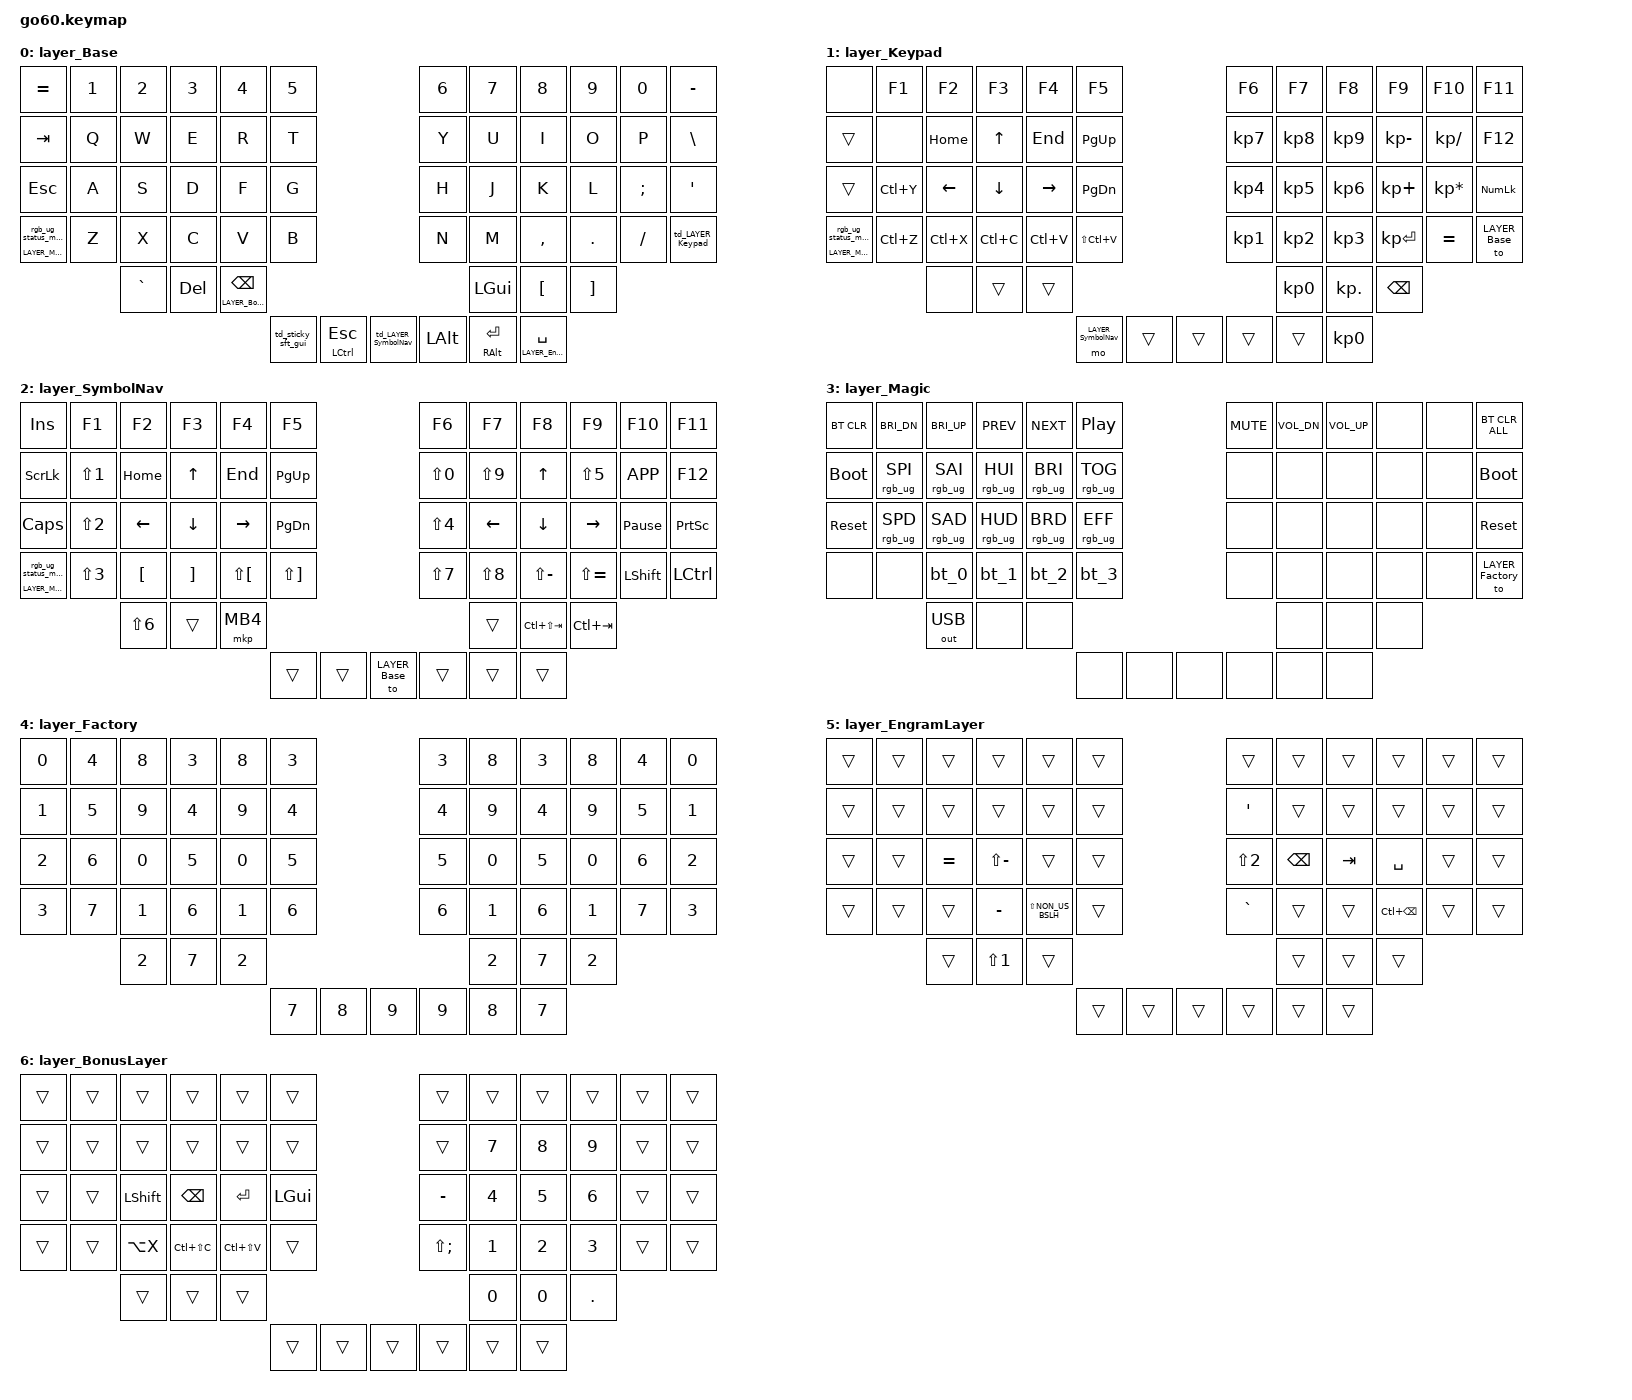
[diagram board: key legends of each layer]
/*
 * Copyright (c) 2020 The ZMK Contributors
 * Copyright (c) 2025 Innaworks Development Limited, trading as MoErgo
 *
 * SPDX-License-Identifier: MIT
 */


/* THIS FILE WAS GENERATED BY GO60 LAYOUT EDITOR
 *
 * This file was generated automatically. You may or may not want to
 * edit it directly.
 */

#include <behaviors.dtsi>

/* Include all behavior includes needed */

#include <dt-bindings/zmk/outputs.h>
#include <dt-bindings/zmk/keys.h>
#include <dt-bindings/zmk/bt.h>
#include <dt-bindings/zmk/rgb.h>

#include <input/processors.dtsi>
#include <dt-bindings/zmk/input_transform.h>
#include <zephyr/dt-bindings/input/input-event-codes.h>

/* On demand includes */
#include <dt-bindings/zmk/input_transform.h>
#include <dt-bindings/zmk/pointing.h>
#include <input/processors.dtsi>

/* Helper Macros, based on https://github.com/urob/zmk-helpers/ */

#pragma once

#define ZMK_HELPER_STRINGIFY(x) #x

// Preprocessor mechanism to overload macros, cf. https://stackoverflow.com/a/27051616/6114651
#define VARGS_(_10, _9, _8, _7, _6, _5, _4, _3, _2, _1, N, ...) N
#define VARGS(...) VARGS_(__VA_ARGS__, 10, 9, 8, 7, 6, 5, 4, 3, 2, 1, 0)
#define CONCAT_(a, b) a##b
#define CONCAT(a, b) CONCAT_(a, b)

#define ZMK_BEHAVIOR_CORE_tap_dance  \
    compatible = "zmk,behavior-tap-dance"; \
    #binding-cells = <0>

#define ZMK_BEHAVIOR(name, type, ...) \
    name: name { \
        ZMK_BEHAVIOR_CORE_ ## type; \
        __VA_ARGS__ \
    };

#define ZMK_TAP_DANCE(name, ...) \
    ZMK_BEHAVIOR(name, tap_dance, __VA_ARGS__)

#define ZMK_TD_LAYER(name, layer) \
    ZMK_TAP_DANCE(name, \
        tapping-term-ms = <200>; \
        bindings = <&mo layer>, <&to layer>; \
)




/* Locale-specific keycodes */

#define GB_N2 N2
#define GB_N3 N3
#define GB_N4 N4
#define GB_A A
#define GB_E E
#define GB_I I
#define GB_O O
#define GB_U U
#define GB_POUND BACKSLASH
#define GB_BACKSLASH NON_US_BACKSLASH
#define GB_GRAVE GRAVE
#define GB_APOS SQT



/* Key positions */

#define POS_LH_C6R1 0
#define POS_LH_C5R1 1
#define POS_LH_C4R1 2
#define POS_LH_C3R1 3
#define POS_LH_C2R1 4
#define POS_LH_C1R1 5
#define POS_RH_C1R1 6
#define POS_RH_C2R1 7
#define POS_RH_C3R1 8
#define POS_RH_C4R1 9
#define POS_RH_C5R1 10
#define POS_RH_C6R1 11
#define POS_LH_C6R2 12
#define POS_LH_C5R2 13
#define POS_LH_C4R2 14
#define POS_LH_C3R2 15
#define POS_LH_C2R2 16
#define POS_LH_C1R2 17
#define POS_RH_C1R2 18
#define POS_RH_C2R2 19
#define POS_RH_C3R2 20
#define POS_RH_C4R2 21
#define POS_RH_C5R2 22
#define POS_RH_C6R2 23
#define POS_LH_C6R3 24
#define POS_LH_C5R3 25
#define POS_LH_C4R3 26
#define POS_LH_C3R3 27
#define POS_LH_C2R3 28
#define POS_LH_C1R3 29
#define POS_RH_C1R3 30
#define POS_RH_C2R3 31
#define POS_RH_C3R3 32
#define POS_RH_C4R3 33
#define POS_RH_C5R3 34
#define POS_RH_C6R3 35
#define POS_LH_C6R4 36
#define POS_LH_C5R4 37
#define POS_LH_C4R4 38
#define POS_LH_C3R4 39
#define POS_LH_C2R4 40
#define POS_LH_C1R4 41
#define POS_RH_C1R4 42
#define POS_RH_C2R4 43
#define POS_RH_C3R4 44
#define POS_RH_C4R4 45
#define POS_RH_C5R4 46
#define POS_RH_C6R4 47
#define POS_LH_C4R5 48
#define POS_LH_C3R5 49
#define POS_LH_C2R5 50
#define POS_RH_C2R5 51
#define POS_RH_C3R5 52
#define POS_RH_C4R5 53
#define POS_LH_T1 54
#define POS_LH_T2 55
#define POS_LH_T3 56
#define POS_RH_T3 57
#define POS_RH_T2 58
#define POS_RH_T1 59


#define LEFT_HAND_KEYS \
  POS_LH_C1R1 POS_LH_C2R1 POS_LH_C3R1 POS_LH_C4R1 POS_LH_C5R1 POS_LH_C6R1 \
  POS_LH_C1R2 POS_LH_C2R2 POS_LH_C3R2 POS_LH_C4R2 POS_LH_C5R2 POS_LH_C6R2 \
  POS_LH_C1R3 POS_LH_C2R3 POS_LH_C3R3 POS_LH_C4R3 POS_LH_C5R3 POS_LH_C6R3 \
  POS_LH_C1R4 POS_LH_C2R4 POS_LH_C3R4 POS_LH_C4R4 POS_LH_C5R4 POS_LH_C6R4 \
              POS_LH_C2R5 POS_LH_C3R5 POS_LH_C4R5

#define RIGHT_HAND_KEYS \
  POS_RH_C1R1 POS_RH_C2R1 POS_RH_C3R1 POS_RH_C4R1 POS_RH_C5R1 POS_RH_C6R1 \
  POS_RH_C1R2 POS_RH_C2R2 POS_RH_C3R2 POS_RH_C4R2 POS_RH_C5R2 POS_RH_C6R2 \
  POS_RH_C1R3 POS_RH_C2R3 POS_RH_C3R3 POS_RH_C4R3 POS_RH_C5R3 POS_RH_C6R3 \
  POS_RH_C1R4 POS_RH_C2R4 POS_RH_C3R4 POS_RH_C4R4 POS_RH_C5R4 POS_RH_C6R4 \
              POS_RH_C2R5 POS_RH_C3R5 POS_RH_C4R5

#define THUMB_KEYS \
  POS_LH_T1 POS_LH_T2 POS_LH_T3 \
  POS_RH_T1 POS_RH_T2 POS_RH_T3

/* Environment and metadata defines */
#define KB_TYPE_GLOVE_80 1
#define KB_TYPE_GO_60    2

#define KB_TYPE          KB_TYPE_GO_60
#define EDITOR_HOST_OS   'L'

/* Automatically generated layer name defines */
#define LAYER_Base 0
#define LAYER_Keypad 1
#define LAYER_SymbolNav 2
#define LAYER_Magic 3
#define LAYER_Factory 4
#define LAYER_EngramLayer 5
#define LAYER_BonusLayer 6

/* To deal with the situation where there is no Lower layer, to keep &lower happy */
#ifndef LAYER_Lower
#define LAYER_Lower 0
#endif

/* Generated input processors */
/ {
    input_processors {
        zip_click_to_right_click_mapper: zip_click_to_right_click_mapper {
            compatible = "zmk,input-processor-code-mapper";
            #input-processor-cells = <0>;
            type = <INPUT_EV_KEY>;
            map = <INPUT_BTN_0 INPUT_BTN_1>;
        };
    };
};

/* Custom Device-tree */
&sk {
    quick-release;
    lazy;
};

/* Input Listeners */
&cirque_rh_listener {
    input-processors = <&zip_xy_scaler 3 1>;
    layer_SymbolNav {
        layers = <LAYER_SymbolNav>;
        input-processors = <&zip_xy_scaler 9 1>;
    };
};

&cirque_lh_listener {
    input-processors = <&zip_xy_scaler 1 4>, <&zip_xy_transform INPUT_TRANSFORM_Y_INVERT>, <&zip_xy_to_scroll_mapper>, <&zip_click_to_right_click_mapper>;
    layer_Factory {
        layers = <LAYER_Factory>;
        input-processors = <&zip_xy_scaler 3 1>;
    };
};

/* System behavior and macros */
/ {
    behaviors {
        ZMK_TD_LAYER(lower, LAYER_Lower)
    };
};

/ {
    macros {
        rgb_ug_status_macro: rgb_ug_status_macro {
            label = "RGB_UG_STATUS";
            compatible = "zmk,behavior-macro";
            #binding-cells = <0>;
            bindings
                = <&rgb_ug RGB_STATUS>;
        };
    };
};

/ {
#ifdef BT_DISC_CMD
    behaviors {
        bt_0: bt_0 {
            compatible = "zmk,behavior-tap-dance";
            label = "BT_0";
            #binding-cells = <0>;
            tapping-term-ms = <200>;
            bindings = <&bt_select_0>, <&bt BT_DISC 0>;
        };
        bt_1: bt_1 {
            compatible = "zmk,behavior-tap-dance";
            label = "BT_1";
            #binding-cells = <0>;
            tapping-term-ms = <200>;
            bindings = <&bt_select_1>, <&bt BT_DISC 1>;
        };
        bt_2: bt_2 {
            compatible = "zmk,behavior-tap-dance";
            label = "BT_2";
            #binding-cells = <0>;
            tapping-term-ms = <200>;
            bindings = <&bt_select_2>, <&bt BT_DISC 2>;
        };
        bt_3: bt_3 {
            compatible = "zmk,behavior-tap-dance";
            label = "BT_3";
            #binding-cells = <0>;
            tapping-term-ms = <200>;
            bindings = <&bt_select_3>, <&bt BT_DISC 3>;
        };
    };
    macros {
        bt_select_0: bt_select_0 {
            label = "BT_SELECT_0";
            compatible = "zmk,behavior-macro";
            #binding-cells = <0>;
            bindings
                = <&out OUT_BLE>,
                  <&bt BT_SEL 0>;
        };
        bt_select_1: bt_select_1 {
            label = "BT_SELECT_1";
            compatible = "zmk,behavior-macro";
            #binding-cells = <0>;
            bindings
                = <&out OUT_BLE>,
                  <&bt BT_SEL 1>;
        };
        bt_select_2: bt_select_2 {
            label = "BT_SELECT_2";
            compatible = "zmk,behavior-macro";
            #binding-cells = <0>;
            bindings
                = <&out OUT_BLE>,
                  <&bt BT_SEL 2>;
        };
        bt_select_3: bt_select_3 {
            label = "BT_SELECT_3";
            compatible = "zmk,behavior-macro";
            #binding-cells = <0>;
            bindings
                = <&out OUT_BLE>,
                  <&bt BT_SEL 3>;
        };
    };
#else
    macros {
        bt_0: bt_0 {
            label = "BT_0";
            compatible = "zmk,behavior-macro";
            #binding-cells = <0>;
            bindings
                = <&out OUT_BLE>,
                  <&bt BT_SEL 0>;
        };
        bt_1: bt_1 {
            label = "BT_1";
            compatible = "zmk,behavior-macro";
            #binding-cells = <0>;
            bindings
                = <&out OUT_BLE>,
                  <&bt BT_SEL 1>;
        };
        bt_2: bt_2 {
            label = "BT_2";
            compatible = "zmk,behavior-macro";
            #binding-cells = <0>;
            bindings
                = <&out OUT_BLE>,
                  <&bt BT_SEL 2>;
        };
        bt_3: bt_3 {
            label = "BT_3";
            compatible = "zmk,behavior-macro";
            #binding-cells = <0>;
            bindings
                = <&out OUT_BLE>,
                  <&bt BT_SEL 3>;
        };
    };
#endif
};

/ {
    behaviors {
        magic: magic {
            compatible = "zmk,behavior-hold-tap";
            label = "MAGIC_HOLD_TAP";
            #binding-cells = <2>;
            flavor = "tap-preferred";
            tapping-term-ms = <200>;
            bindings = <&mo>, <&rgb_ug_status_macro>;
        };
    };
};


/* Custom Defined Behaviors */
/ {
    behaviors {
        td_sticky_sft_gui: tap_dance_sticky_shift_gui {
            compatible = "zmk,behavior-tap-dance";
            #binding-cells = <0>;
            tapping-term-ms = <250>;
            bindings =
                <&sk LSHIFT>,
                <&kp LGUI>; // tap-then-hold = LGUI held
        };
    };
};

/* Automatically generated macro definitions */
/ {
    macros {

    };
};

/* Automatically generated behavior definitions */
/ {
    behaviors {

        // Layer tap dance behaviors

        ZMK_TD_LAYER(td_LAYER_Keypad, 1)
        ZMK_TD_LAYER(td_LAYER_SymbolNav, 2)

    };
};

/* Automatically generated combos definitions */


/* Automatically generated keymap */
/ {
    keymap {
        compatible = "zmk,keymap";


        layer_Base {
            bindings = <
            &kp EQUAL  &kp N1     &kp N2   &kp N3                     &kp N4  &kp N5                                                                                                               &kp N6    &kp N7     &kp N8    &kp N9    &kp N0         &kp MINUS
              &kp TAB   &kp Q      &kp W    &kp E                      &kp R   &kp T                                                                                                                &kp Y     &kp U      &kp I     &kp O     &kp P          &kp BSLH
              &kp ESC   &kp A      &kp S    &kp D                      &kp F   &kp G                                                                                                                &kp H     &kp J      &kp K     &kp L  &kp SEMI           &kp SQT
 &magic LAYER_Magic 0   &kp Z      &kp X    &kp C                      &kp V   &kp B                                                                                                                &kp N     &kp M  &kp COMMA   &kp DOT  &kp FSLH  &td_LAYER_Keypad
                               &kp GRAVE  &kp DEL  &lt LAYER_BonusLayer BSPC                                                                                                                               &kp LGUI   &kp LBKT  &kp RBKT
                                                                                      &td_sticky_sft_gui  &mt LCTRL ESC  &td_LAYER_SymbolNav  &kp LALT  &mt RALT RET  &lt LAYER_EngramLayer SPACE
            >;
        };

        layer_Keypad {
            bindings = <
                &none     &kp F1     &kp F2     &kp F3     &kp F4         &kp F5                                                                     &kp F6     &kp F7      &kp F8        &kp F9          &kp F10         &kp F11
               &trans      &none   &kp HOME     &kp UP    &kp END      &kp PG_UP                                                                  &kp KP_N7  &kp KP_N8   &kp KP_N9  &kp KP_MINUS     &kp KP_SLASH         &kp F12
               &trans  &kp LC(Y)   &kp LEFT   &kp DOWN  &kp RIGHT      &kp PG_DN                                                                  &kp KP_N4  &kp KP_N5   &kp KP_N6   &kp KP_PLUS  &kp KP_MULTIPLY      &kp KP_NUM
 &magic LAYER_Magic 0  &kp LC(Z)  &kp LC(X)  &kp LC(C)  &kp LC(V)  &kp LS(LC(V))                                                                  &kp KP_N1  &kp KP_N2   &kp KP_N3  &kp KP_ENTER        &kp EQUAL  &to LAYER_Base
                                      &none     &trans     &trans                                                                                            &kp KP_N0  &kp KP_DOT      &kp BSPC
                                                                                  &mo LAYER_SymbolNav  &trans  &trans  &trans  &trans  &kp KP_N0
            >;
        };

        layer_SymbolNav {
            bindings = <
              &kp INS      &kp F1      &kp F2    &kp F3        &kp F4        &kp F5                                                              &kp F6      &kp F7           &kp F8         &kp F9          &kp F10    &kp F11
             &kp SLCK  &kp LS(N1)    &kp HOME    &kp UP       &kp END     &kp PG_UP                                                          &kp LS(N0)  &kp LS(N9)           &kp UP     &kp LS(N5)        &kp K_APP    &kp F12
             &kp CAPS  &kp LS(N2)    &kp LEFT  &kp DOWN     &kp RIGHT     &kp PG_DN                                                          &kp LS(N4)    &kp LEFT         &kp DOWN      &kp RIGHT  &kp PAUSE_BREAK  &kp PSCRN
 &magic LAYER_Magic 0  &kp LS(N3)    &kp LBKT  &kp RBKT  &kp LS(LBKT)  &kp LS(RBKT)                                                          &kp LS(N7)  &kp LS(N8)    &kp LS(MINUS)  &kp LS(EQUAL)        &kp LSHFT  &kp LCTRL
                                   &kp LS(N6)    &trans      &mkp MB4                                                                                        &trans  &kp LC(LS(TAB))    &kp LC(TAB)
                                                                                     &trans  &trans  &to LAYER_Base  &trans  &trans  &trans
            >;
        };

        layer_Magic {
            bindings = <
  &bt BT_CLR     &kp C_BRI_DN     &kp C_BRI_UP       &kp C_PREV       &kp C_NEXT         &kp C_PP                                                  &kp C_MUTE  &kp C_VOL_DN  &kp C_VOL_UP   &none   &none     &bt BT_CLR_ALL
 &bootloader  &rgb_ug RGB_SPI  &rgb_ug RGB_SAI  &rgb_ug RGB_HUI  &rgb_ug RGB_BRI  &rgb_ug RGB_TOG                                                       &none         &none         &none   &none   &none        &bootloader
  &sys_reset  &rgb_ug RGB_SPD  &rgb_ug RGB_SAD  &rgb_ug RGB_HUD  &rgb_ug RGB_BRD  &rgb_ug RGB_EFF                                                       &none         &none         &none   &none   &none         &sys_reset
       &none            &none            &bt_0            &bt_1            &bt_2            &bt_3                                                       &none         &none         &none   &none   &none  &to LAYER_Factory
                                  &out OUT_USB            &none            &none                                                                                      &none         &none   &none
                                                                                                    &none   &none   &none   &none   &none   &none
            >;
        };

        layer_Factory {
            bindings = <
 &kp N0  &kp N4  &kp N8  &kp N3  &kp N8  &kp N3                                                  &kp N3  &kp N8  &kp N3  &kp N8  &kp N4  &kp N0
 &kp N1  &kp N5  &kp N9  &kp N4  &kp N9  &kp N4                                                  &kp N4  &kp N9  &kp N4  &kp N9  &kp N5  &kp N1
 &kp N2  &kp N6  &kp N0  &kp N5  &kp N0  &kp N5                                                  &kp N5  &kp N0  &kp N5  &kp N0  &kp N6  &kp N2
 &kp N3  &kp N7  &kp N1  &kp N6  &kp N1  &kp N6                                                  &kp N6  &kp N1  &kp N6  &kp N1  &kp N7  &kp N3
                 &kp N2  &kp N7  &kp N2                                                                  &kp N2  &kp N7  &kp N2
                                                 &kp N7  &kp N8  &kp N9  &kp N9  &kp N8  &kp N7
            >;
        };

        layer_EngramLayer {
            bindings = <
 &trans  &trans     &trans         &trans               &trans  &trans                                                      &trans    &trans   &trans        &trans  &trans  &trans
 &trans  &trans     &trans         &trans               &trans  &trans                                                     &kp SQT    &trans   &trans        &trans  &trans  &trans
 &trans  &trans  &kp EQUAL  &kp LS(MINUS)               &trans  &trans                                                  &kp LS(N2)  &kp BSPC  &kp TAB     &kp SPACE  &trans  &trans
 &trans  &trans     &trans      &kp MINUS  &kp LS(NON_US_BSLH)  &trans                                                   &kp GRAVE    &trans   &trans  &kp LC(BSPC)  &trans  &trans
                    &trans     &kp LS(N1)               &trans                                                                        &trans   &trans        &trans
                                                                        &trans  &trans  &trans  &trans  &trans  &trans
            >;
        };

        layer_BonusLayer {
            bindings = <
 &trans  &trans     &trans         &trans         &trans    &trans                                                        &trans  &trans  &trans   &trans  &trans  &trans
 &trans  &trans     &trans         &trans         &trans    &trans                                                        &trans  &kp N7  &kp N8   &kp N9  &trans  &trans
 &trans  &trans  &kp LSHFT       &kp BSPC        &kp RET  &kp LGUI                                                     &kp MINUS  &kp N4  &kp N5   &kp N6  &trans  &trans
 &trans  &trans  &kp LA(X)  &kp LC(LS(C))  &kp LC(LS(V))    &trans                                                  &kp LS(SEMI)  &kp N1  &kp N2   &kp N3  &trans  &trans
                    &trans         &trans         &trans                                                                          &kp N0  &kp N0  &kp DOT
                                                                    &trans  &trans  &trans  &trans  &trans  &trans
            >;
        };

    };
};
